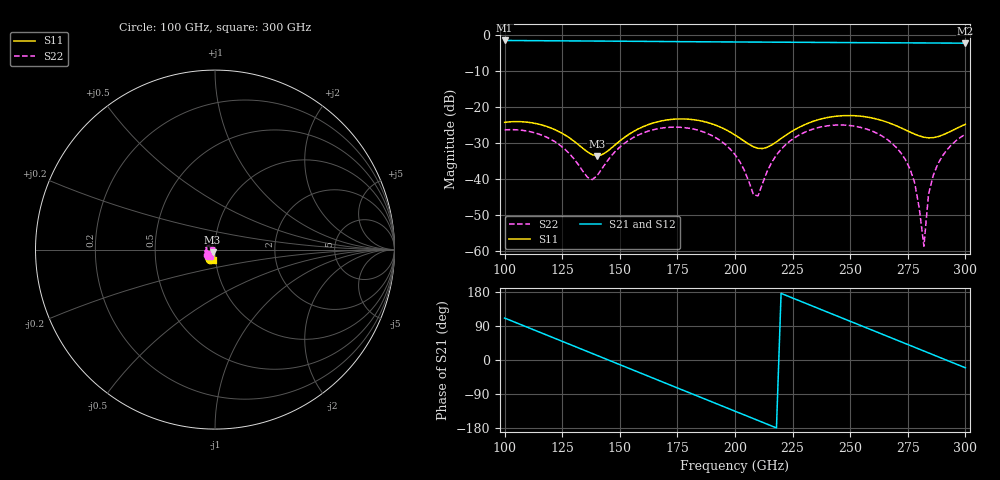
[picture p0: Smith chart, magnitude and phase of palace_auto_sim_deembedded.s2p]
! Created with skrf 1.11.0 (http://scikit-rf.org).
# GHz S DB R 50.0
!freq dBS11 angS11 dBS21 angS21 dBS12 angS12 dBS22 angS22
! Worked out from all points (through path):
!   101 points, 100 GHz to 300 GHz, reference 50 ohm
!   highest |S21| = -1.39 dB at 100 GHz (marker M1); lowest = -2.1 dB at 300 GHz (marker M2)
!   group delay of S21, straight-line fit = 6.82 ps
!   lowest |S11| = -33.6 dB at 140 GHz (marker M3), VSWR 1.04, Z = 48.6 - j1.56 ohm
!   |S11| at or under -10 dB: start of sweep to end of sweep
!   |S22| runs from -58.7 to -24.9 dB; largest |S21 - S12| = 1.4e-13
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100  -24.21 -118.6  -1.39 110.7  -1.39 110.7  -26.32 -142.4
120  -25.76 -153.1  -1.48 61.6  -1.48 61.6  -28.92 174.6
134  -31.47 -154.7  -1.53 27.2  -1.53 27.2  -37.87 174.2
140  -33.57 -130.1  -1.55 12.4  -1.55 12.4  -39.20 -134.1
152  -28.42 -97.6  -1.60 -17.2  -1.60 -17.2  -30.07 -118.7
168  -23.83 -114.5  -1.68 -56.5  -1.68 -56.5  -25.83 -150.4
184  -23.67 -139.7  -1.75 -95.8  -1.75 -95.8  -26.42 173.1
200  -27.74 -153.7  -1.81 -135.1  -1.81 -135.1  -33.21 141.7
208  -31.01 -139.4  -1.83 -154.7  -1.83 -154.7  -44.34 170.7
210  -31.46 -131.5  -1.84 -159.6  -1.84 -159.6  -44.73 -146.7
214  -31.16 -114.5  -1.85 -169.4  -1.85 -169.4  -37.82 -112.6
220  -28.73 -99.4  -1.87 175.8  -1.87 175.8  -31.73 -114.8
234  -23.92 -103.4  -1.92 141.4  -1.92 141.4  -26.06 -143.9
252  -22.37 -127.3  -1.99 97.3  -1.99 97.3  -25.29 172.8
268  -24.64 -143.4  -2.04 58.0  -2.04 58.0  -29.97 133.1
274  -26.32 -143.0  -2.06 43.3  -2.06 43.3  -34.67 118.0
278  -27.50 -138.6  -2.07 33.5  -2.07 33.5  -41.09 107.5
282  -28.36 -130.0  -2.08 23.7  -2.08 23.7  -58.74 -74.8
284  -28.53 -124.6  -2.09 18.8  -2.09 18.8  -44.21 -85.3
286  -28.48 -119.0  -2.09 13.8  -2.09 13.8  -39.06 -90.9
292  -27.21 -105.7  -2.12 -0.9  -2.12 -0.9  -31.87 -106.4
300  -24.75 -101.1  -2.15 -20.5  -2.15 -20.5  -27.54 -126.7
